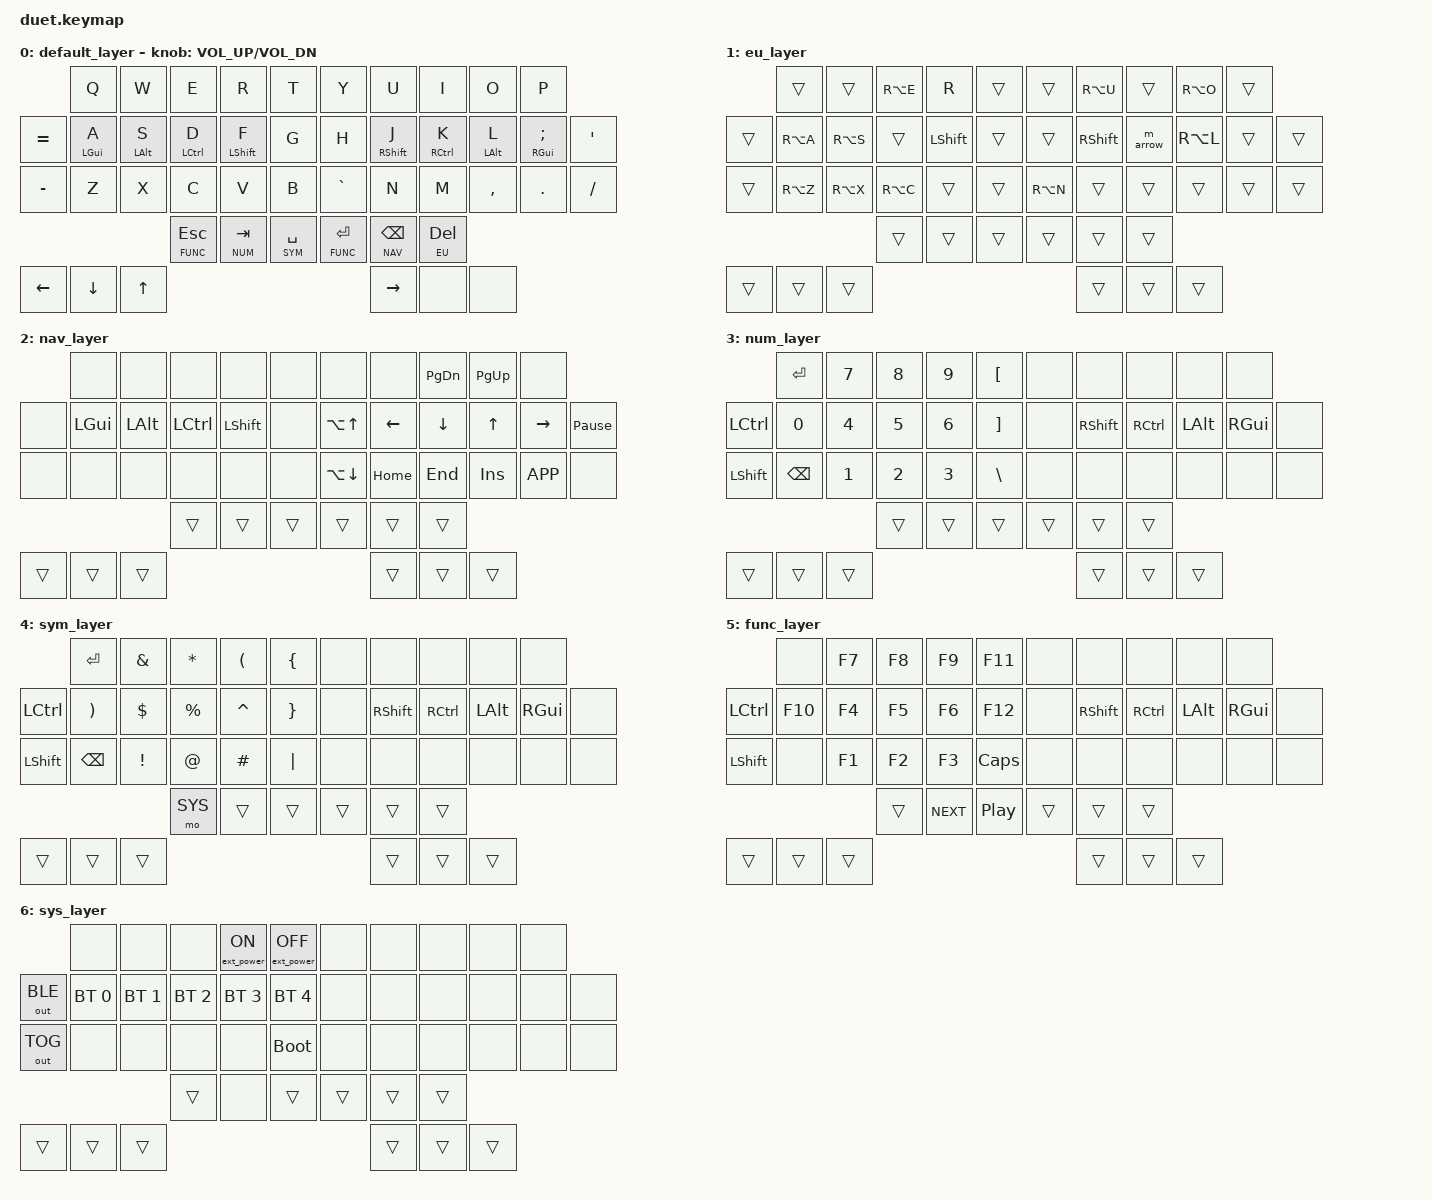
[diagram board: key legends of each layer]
/*
 * Copyright (c) 2020 The ZMK Contributors
 *
 * SPDX-License-Identifier: MIT
 */

#include <behaviors.dtsi>
#include <dt-bindings/zmk/keys.h>
#include <dt-bindings/zmk/bt.h>
#include <dt-bindings/zmk/outputs.h>
#include <dt-bindings/zmk/ext_power.h>

#define QWERTY 0
#define EU 1
#define NAV 2
#define NUM 3
#define SYM 4
#define FUNC 5
#define SYS 6

&lt {
    tapping-term-ms = <150>;
};

&mt {
    tapping-term-ms = <150>;
};

&encoder {
    status = "okay";
};

/ {
    behaviors {
        hi: homerow_mods_index_finger {
            compatible = "zmk,behavior-hold-tap";
            #binding-cells = <2>;
            tapping-term-ms = <140>;
            quick-tap-ms = <0>;
            flavor = "tap-preferred";
            bindings = <&kp>, <&kp>;
        };
        hm: homerow_mods_middle_finger {
            compatible = "zmk,behavior-hold-tap";
            #binding-cells = <2>;
            tapping-term-ms = <160>;
            quick-tap-ms = <0>;
            require-prior-idle-ms = <50>;
            flavor = "tap-preferred";
            bindings = <&kp>, <&kp>;
        };
        hr: homerow_mods_ring_finger {
            compatible = "zmk,behavior-hold-tap";
            #binding-cells = <2>;
            tapping-term-ms = <200>;
            quick-tap-ms = <0>;
            require-prior-idle-ms = <100>;
            flavor = "tap-preferred";
            bindings = <&kp>, <&kp>;
        };
        hp: homerow_mods_pinky_finger {
            compatible = "zmk,behavior-hold-tap";
            #binding-cells = <2>;
            tapping-term-ms = <250>;
            quick-tap-ms = <0>;
            require-prior-idle-ms = <100>;
            flavor = "tap-preferred";
            bindings = <&kp>, <&kp>;
        };
        lh: layer_hold {
            compatible = "zmk,behavior-hold-tap";
            #binding-cells = <2>;
            tapping-term-ms = <150>;
            quick-tap-ms = <150>;
            flavor = "tap-preferred";
            bindings = <&mo>, <&kp>;
        };
    };

    macros {
        m_arrow: m_arrow {
            compatible = "zmk,behavior-macro";
            #binding-cells = <0>;
            bindings = <&kp EQUAL &kp GT>;
        };
    };

    combos {
        compatible = "zmk,combos";
        combo_caps_word {
            timeout-ms = <50>;
            key-positions = <14 17>;
            bindings = <&caps_word>;
            layers = <0>;
        };
    };

    keymap {
        compatible = "zmk,keymap";

        default_layer {
            bindings = <
                           &kp Q       &kp W       &kp E         &kp R        &kp T            &kp Y      &kp U        &kp I        &kp O       &kp P
                &kp EQUAL  &hp LGUI A  &hr LALT S  &hm LCTRL D   &hi LSHFT F  &kp G            &kp H      &hi RSHFT J  &hm RCTRL K  &hr LALT L  &hp RGUI SEMI  &kp SQT
                &kp MINUS  &kp Z       &kp X       &kp C         &kp V        &kp B            &kp GRAVE  &kp N        &kp M        &kp COMMA   &kp DOT        &kp SLASH
                                              &lt FUNC ESC  &lt NUM TAB  &lt SYM SPACE      &lt FUNC ENTER  &lt NAV BSPC  &lt EU DEL
                &kp LEFT  &kp DOWN  &kp UP  &kp RIGHT  &none                                                                        &none
            >;

            sensor-bindings = <&inc_dec_kp C_VOL_UP C_VOL_DN>;
        };

        eu_layer {
            bindings = <
                          &trans       &trans      &kp RA(E)    &kp R        &trans            &trans       &kp RA(U)    &trans      &kp RA(O)    &trans 
                &trans    &kp RA(A)    &kp RA(S)   &trans       &kp LSHFT    &trans            &trans       &kp RSHFT    &m_arrow    &kp RA(L)    &trans       &trans
                &trans    &kp RA(Z)    &kp RA(X)   &kp RA(C)    &trans       &trans            &kp RA(N)    &trans       &trans      &trans       &trans       &trans
                                                        &trans     &trans     &trans        &trans      &trans     &trans
                &trans  &trans  &trans  &trans  &trans                                                                               &trans
            >;
        };

        nav_layer {
            bindings = <
                          &none       &none        &none        &none        &none            &none         &none        &kp PG_DN    &kp PG_UP    &none
                &none     &kp LGUI    &kp LALT     &kp LCTRL    &kp LSHFT    &none            &kp LA(UP)    &kp LEFT     &kp DOWN     &kp UP       &kp RIGHT    &kp PAUSE_BREAK
                &none     &none       &none        &none        &none        &none            &kp LA(DOWN)  &kp HOME     &kp END      &kp INS      &kp K_APP    &none
                                                        &trans     &trans     &trans        &trans      &trans     &trans
                &trans  &trans  &trans  &trans  &trans                                                                                &trans
            >;
        };

        num_layer {
            bindings = <
                            &kp ENTER  &kp N7      &kp N8      &kp N9      &kp LBKT           &none        &none        &none        &none        &none
                &kp LCTRL   &kp N0     &kp N4      &kp N5      &kp N6      &kp RBKT           &none        &kp RSHFT    &kp RCTRL    &kp LALT     &kp RGUI     &none
                &kp LSHFT   &kp BSPC   &kp N1      &kp N2      &kp N3      &kp BSLH           &none        &none        &none        &none        &none        &none
                                                        &trans     &trans     &trans        &trans      &trans     &trans
                &trans  &trans  &trans  &trans  &trans                                                                               &trans
            >;
        };

        sym_layer {
            bindings = <
                            &kp ENTER  &kp AMPS    &kp STAR    &kp LPAR    &kp LBRC           &none        &none        &none        &none        &none
                &kp LCTRL   &kp RPAR   &kp DLLR    &kp PRCNT   &kp CARET   &kp RBRC           &none        &kp RSHFT    &kp RCTRL    &kp LALT     &kp RGUI    &none
                &kp LSHFT   &kp BSPC   &kp EXCL    &kp AT      &kp HASH    &kp PIPE           &none        &none        &none        &none        &none       &none
                                                         &mo SYS    &trans     &trans       &trans      &trans     &trans
                &trans  &trans  &trans  &trans  &trans                                                                                &trans
            >;
        };

        func_layer {
            bindings = <
                           &none       &kp F7      &kp F8      &kp F9      &kp F11             &none        &none        &none        &none        &none
                &kp LCTRL  &kp F10     &kp F4      &kp F5      &kp F6      &kp F12             &none        &kp RSHFT    &kp RCTRL    &kp LALT     &kp RGUI    &none
                &kp LSHFT  &none       &kp F1      &kp F2      &kp F3      &kp CAPS            &none        &none        &none        &none        &none       &none
                                                    &trans     &kp C_NEXT     &kp C_PP       &trans      &trans     &trans
                &trans  &trans  &trans  &trans  &trans                                                                                &trans
            >;
        };

        sys_layer {
            bindings = <
                              &none         &none         &none         &ext_power EP_ON  &ext_power EP_OFF           &none       &none       &none       &none       &none
                &out OUT_BLE  &bt BT_SEL 0  &bt BT_SEL 1  &bt BT_SEL 2  &bt BT_SEL 3      &bt BT_SEL 4                &none       &none       &none       &none       &none      &none
                &out OUT_TOG  &none         &none         &none         &none             &bootloader                 &none       &none       &none       &none       &none      &none
                                                                                 &trans     &none     &trans        &trans      &trans     &trans
                &trans  &trans  &trans  &trans  &trans                                                                                                    &trans
            >;
        };

    };
};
